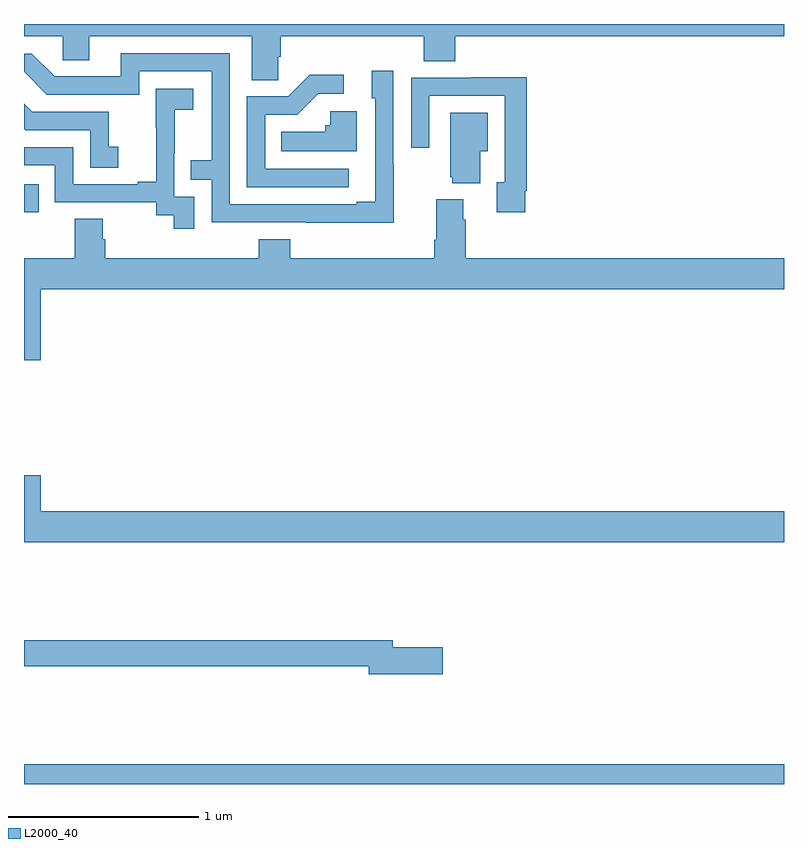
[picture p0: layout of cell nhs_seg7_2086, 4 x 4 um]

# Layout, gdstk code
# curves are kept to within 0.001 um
import gdstk
lib = gdstk.Library(unit=1e-6, precision=1e-09)
def R(c, l, rs):  # rectangles x0, y0, x1, y1
    for r in rs: c.add(gdstk.rectangle(r[:2], r[2:], *l))
def P(c, l, *ps):  # polygons
    for p in ps: c.add(gdstk.Polygon(p, *l))
L2000_40 = (2000, 40)

nhs_seg7_2086 = lib.new_cell('nhs_seg7_2086')
R(nhs_seg7_2086, L2000_40, [(249,1010,253,1010.104), (249,1013.01,249.077,1013.157)])
P(nhs_seg7_2086, L2000_40, [(250.338,1013.827),(250.352,1013.827),(250.352,1013.936),(251.105,1013.936),(251.105,1013.803),(251.27,1013.803),(251.27,1013.936),(253,1013.936),(253,1014),(249,1014),(249,1013.936),(249.204,1013.936),(249.204,1013.809),(249.343,1013.809),(249.343,1013.936),(250.199,1013.936),(250.199,1013.704),(250.338,1013.704)],
  [(250.947,1013.261),(250.944,1013.261),(250.944,1013.755),(250.829,1013.755),(250.829,1013.61),(250.848,1013.61),(250.848,1013.065),(250.751,1013.065),(250.751,1013.052),(250.083,1013.052),(250.083,1013.847),(249.509,1013.847),(249.509,1013.724),(249.162,1013.724),(249.042,1013.844),(249,1013.844),(249,1013.748),(249.12,1013.628),(249.606,1013.628),(249.606,1013.751),(249.987,1013.751),(249.987,1013.282),(249.877,1013.282),(249.877,1013.181),(249.987,1013.181),(249.987,1012.956),(250.947,1012.955)],
  [(250.708,1013.238),(250.269,1013.238),(250.269,1013.523),(250.438,1013.523),(250.549,1013.634),(250.684,1013.634),(250.684,1013.732),(250.505,1013.732),(250.392,1013.619),(250.173,1013.619),(250.173,1013.142),(250.708,1013.142)],
  [(251.638,1013.122),(251.645,1013.122),(251.645,1013.72),(251.353,1013.72),(251.353,1013.718),(251.037,1013.718),(251.037,1013.349),(251.133,1013.349),(251.133,1013.622),(251.529,1013.622),(251.529,1013.166),(251.489,1013.166),(251.489,1013.01),(251.638,1013.01)],
  [(249.897,1013.091),(249.792,1013.091),(249.792,1013.321),(249.794,1013.321),(249.794,1013.549),(249.892,1013.549),(249.892,1013.659),(249.694,1013.659),(249.694,1013.453),(249.695,1013.453),(249.695,1013.17),(249.599,1013.17),(249.599,1013.157),(249.258,1013.157),(249.258,1013.352),(249,1013.352),(249,1013.256),(249.162,1013.256),(249.162,1013.061),(249.696,1013.061),(249.696,1012.993),(249.789,1012.993),(249.789,1012.923),(249.897,1012.923)],
  [(249.496,1013.353),(249.447,1013.353),(249.447,1013.538),(249.043,1013.538),(249,1013.581),(249,1013.448),(249.006,1013.442),(249.348,1013.442),(249.348,1013.244),(249.496,1013.244)],
  [(250.75,1013.542),(250.611,1013.542),(250.611,1013.466),(250.585,1013.466),(250.585,1013.434),(250.354,1013.434),(250.354,1013.33),(250.75,1013.33)],
  [(251.401,1013.33),(251.44,1013.33),(251.44,1013.533),(251.243,1013.533),(251.243,1013.193),(251.255,1013.193),(251.255,1013.162),(251.401,1013.162)],
  [(249.088,1012.604),(253,1012.604),(253,1012.768),(251.324,1012.768),(251.324,1012.97),(251.311,1012.97),(251.311,1013.077),(251.171,1013.077),(251.171,1012.864),(251.159,1012.864),(251.159,1012.768),(250.4,1012.768),(250.4,1012.867),(250.235,1012.867),(250.235,1012.768),(249.428,1012.768),(249.428,1012.866),(249.415,1012.866),(249.415,1012.976),(249.268,1012.976),(249.268,1012.768),(249,1012.768),(249,1012.23),(249.088,1012.23)],
  [(253,1011.436),(249.088,1011.436),(249.088,1011.625),(249,1011.625),(249,1011.272),(253,1011.272)],
  [(251.203,1010.72),(250.942,1010.72),(250.942,1010.756),(249,1010.756),(249,1010.62),(250.814,1010.62),(250.814,1010.578),(251.203,1010.578)])

lib.write_gds('nhs_seg7_2086.gds')
